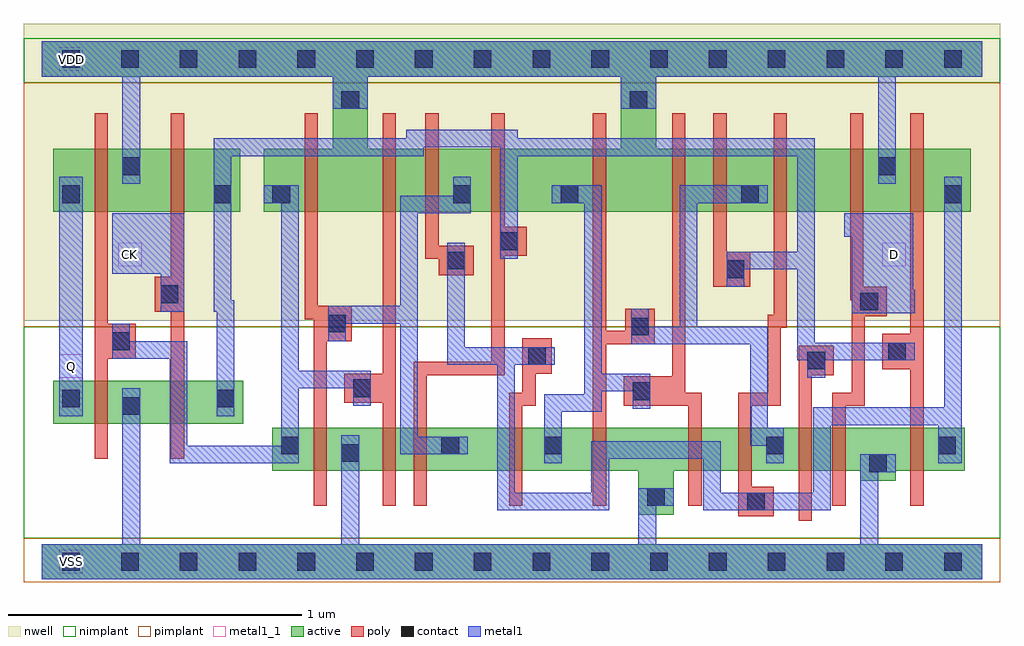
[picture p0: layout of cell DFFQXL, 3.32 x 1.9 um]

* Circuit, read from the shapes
.subckt DFFQXL CK D Q VDD VSS
M1 VSS n1 Q VSS nfet w=0.145u l=0.045u
M2 n2 CK VSS VSS nfet w=0.145u l=0.045u
M3 VSS n3 n1 VSS nfet w=0.145u l=0.045u
M4 n4 n1 VSS VSS nfet w=0.145u l=0.045u
M5 n3 n2 n4 VSS nfet w=0.145u l=0.045u
M6 n5 n6 n3 VSS nfet w=0.145u l=0.045u
M7 VSS n7 n5 VSS nfet w=0.145u l=0.045u
M8 n8 n5 VSS VSS nfet w=0.145u l=0.045u
M9 n7 n6 n8 VSS nfet w=0.145u l=0.045u
M10 n9 n2 n7 VSS nfet w=0.145u l=0.045u
M11 VSS D n9 VSS nfet w=0.145u l=0.045u
M12 n6 n2 VSS VSS nfet w=0.145u l=0.045u
M13 VDD n1 Q VDD pfet w=0.215u l=0.045u
M14 n2 CK VDD VDD pfet w=0.215u l=0.045u
M15 VDD n3 n1 VDD pfet w=0.215u l=0.045u
M16 n10 n1 VDD VDD pfet w=0.215u l=0.045u
M17 n3 n6 n10 VDD pfet w=0.215u l=0.045u
M18 n5 n2 n3 VDD pfet w=0.215u l=0.045u
M19 VDD n7 n5 VDD pfet w=0.215u l=0.045u
M20 n11 n5 VDD VDD pfet w=0.215u l=0.045u
M21 n7 n2 n11 VDD pfet w=0.215u l=0.045u
M22 n12 n6 n7 VDD pfet w=0.215u l=0.045u
M23 VDD D n12 VDD pfet w=0.215u l=0.045u
M24 n6 n2 VDD VDD pfet w=0.215u l=0.045u
.ends

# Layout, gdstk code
import gdstk
lib = gdstk.Library(unit=1e-6, precision=5e-10)
def R(c, l, rs):  # rectangles x0, y0, x1, y1
    for r in rs: c.add(gdstk.rectangle(r[:2], r[2:], *l))
def A(c, l, x, y, w, h, nx, ny, dx, dy):  # array of equal rectangles
    R(c, l, [(x+i*dx, y+j*dy, x+i*dx+w, y+j*dy+h) for i in range(nx) for j in range(ny)])
def P(c, l, *ps):  # polygons
    for p in ps: c.add(gdstk.Polygon(p, *l))
active = (1, 0)
nwell = (2, 0)
poly = (3, 0)
nimplant = (4, 0)
pimplant = (5, 0)
contact = (6, 0)
metal1 = (7, 0)
metal1_1 = (7, 1)

dffqxl = lib.new_cell('DFFQXL')
R(dffqxl, active, [(0,-0.06,3.2,0.06), (0.04,0.47,0.685,0.615), (0.04,1.19,0.675,1.405)])
P(dffqxl, active, [(0,1.77),(3.2,1.77),(3.2,1.65),(2.09,1.65),(2.09,1.405),(3.16,1.405),(3.16,1.19),(0.755,1.19),(0.755,1.405),(0.99,1.405),(0.99,1.65),(1.11,1.65),(1.11,1.405),(1.97,1.405),(1.97,1.65),(0,1.65)],
  [(0.785,0.455),(3.14,0.455),(3.14,0.31),(2.905,0.31),(2.905,0.275),(2.785,0.275),(2.785,0.31),(2.15,0.31),(2.15,0.16),(2.03,0.16),(2.03,0.31),(0.785,0.31)])
R(dffqxl, nwell, [(-0.06,0.82,3.26,1.83)])
P(dffqxl, poly, [(0.18,1.525),(0.225,1.525),(0.225,0.81),(0.32,0.81),(0.32,0.69),(0.225,0.69),(0.225,0.35),(0.18,0.35)],
  [(0.44,1.525),(0.485,1.525),(0.485,0.35),(0.44,0.35),(0.44,0.85),(0.385,0.85),(0.385,0.97),(0.44,0.97)],
  [(0.895,1.525),(0.94,1.525),(0.94,0.87),(1.055,0.87),(1.055,0.75),(0.97,0.75),(0.97,0.19),(0.925,0.19),(0.925,0.825),(0.895,0.825)],
  [(1.16,1.525),(1.205,1.525),(1.205,0.19),(1.16,0.19),(1.16,0.54),(1.03,0.54),(1.03,0.64),(1.16,0.64)],
  [(1.305,1.525),(1.35,1.525),(1.35,1.075),(1.47,1.075),(1.47,0.975),(1.35,0.975),(1.35,1.03),(1.305,1.03)],
  [(1.53,1.525),(1.575,1.525),(1.575,1.14),(1.65,1.14),(1.65,1.04),(1.575,1.04),(1.575,0.635),(1.31,0.635),(1.31,0.19),(1.265,0.19),(1.265,0.68),(1.53,0.68)],
  [(1.875,1.525),(1.92,1.525),(1.92,0.785),(1.985,0.785),(1.985,0.86),(2.085,0.86),(2.085,0.74),(1.92,0.74),(1.92,0.19),(1.875,0.19)],
  [(2.145,1.525),(2.19,1.525),(2.19,0.575),(2.245,0.575),(2.245,0.19),(2.2,0.19),(2.2,0.53),(1.98,0.53),(1.98,0.63),(2.145,0.63)],
  [(2.285,1.525),(2.33,1.525),(2.33,1.055),(2.41,1.055),(2.41,0.935),(2.285,0.935)],
  [(2.49,1.525),(2.535,1.525),(2.535,0.795),(2.515,0.795),(2.515,0.53),(2.415,0.53),(2.415,0.255),(2.49,0.255),(2.49,0.155),(2.37,0.155),(2.37,0.575),(2.47,0.575),(2.47,0.84),(2.49,0.84)],
  [(2.75,1.525),(2.795,1.525),(2.795,0.935),(2.875,0.935),(2.875,0.835),(2.8,0.835),(2.8,0.53),(2.735,0.53),(2.735,0.19),(2.69,0.19),(2.69,0.575),(2.755,0.575),(2.755,0.89),(2.75,0.89)],
  [(2.955,1.525),(3,1.525),(3,0.19),(2.955,0.19),(2.955,0.655),(2.86,0.655),(2.86,0.775),(2.955,0.775)],
  [(1.635,0.76),(1.735,0.76),(1.735,0.64),(1.68,0.64),(1.68,0.53),(1.635,0.53),(1.635,0.19),(1.59,0.19),(1.59,0.575),(1.635,0.575)],
  [(2.575,0.735),(2.695,0.735),(2.695,0.635),(2.62,0.635),(2.62,0.14),(2.575,0.14)])
R(dffqxl, nimplant, [(-0.06,0.08,3.26,0.8), (-0.06,1.63,3.26,1.78)])
R(dffqxl, pimplant, [(-0.06,-0.07,3.26,0.08), (-0.06,0.8,3.26,1.63)])
A(dffqxl, contact, 0.07, -0.03, 0.06, 0.06, 16, 2, 0.2, 1.71)
R(dffqxl, contact, [(2.4,0.175,2.46,0.235), (2.06,0.19,2.12,0.25), (2.815,0.305,2.875,0.365), (1.02,0.34,1.08,0.4), (0.815,0.365,0.875,0.425), (1.36,0.365,1.42,0.425), (1.71,0.365,1.77,0.425), (2.465,0.365,2.525,0.425), (3.05,0.365,3.11,0.425), (0.275,0.5,0.335,0.56), (0.07,0.525,0.13,0.585), (0.595,0.525,0.655,0.585), (2.01,0.55,2.07,0.61), (1.06,0.56,1.12,0.62), (2.605,0.655,2.665,0.715), (1.655,0.67,1.715,0.73), (2.88,0.685,2.94,0.745), (0.24,0.72,0.3,0.78), (2.005,0.77,2.065,0.83), (0.975,0.78,1.035,0.84), (2.785,0.855,2.845,0.915), (0.405,0.88,0.465,0.94), (2.33,0.965,2.39,1.025), (1.38,0.995,1.44,1.055), (1.56,1.06,1.62,1.12), (0.07,1.22,0.13,1.28), (0.585,1.22,0.645,1.28), (0.785,1.22,0.845,1.28), (1.4,1.22,1.46,1.28), (1.765,1.22,1.825,1.28), (2.38,1.22,2.44,1.28), (3.07,1.22,3.13,1.28), (0.275,1.315,0.335,1.375), (2.845,1.315,2.905,1.375), (1.02,1.54,1.08,1.6), (2,1.54,2.06,1.6)])
R(dffqxl, metal1, [(0.06,0.495,0.14,1.31)])
P(dffqxl, metal1, [(0,1.77),(3.2,1.77),(3.2,1.65),(2.905,1.65),(2.905,1.285),(2.845,1.285),(2.845,1.65),(2.09,1.65),(2.09,1.54),(1.97,1.54),(1.97,1.65),(1.11,1.65),(1.11,1.54),(0.99,1.54),(0.99,1.65),(0.335,1.65),(0.335,1.285),(0.275,1.285),(0.275,1.65),(0,1.65)],
  [(1.24,1.47),(1.62,1.47),(1.62,1.44),(2.63,1.44),(2.63,0.745),(2.97,0.745),(2.97,0.685),(2.665,0.685),(2.665,0.625),(2.605,0.625),(2.605,0.685),(2.57,0.685),(2.57,0.995),(2.39,0.995),(2.39,0.935),(2.33,0.935),(2.33,1.055),(2.57,1.055),(2.57,1.38),(1.62,1.38),(1.62,1.03),(1.56,1.03),(1.56,1.41),(1.3,1.41),(1.3,1.38),(0.645,1.38),(0.645,0.89),(0.655,0.89),(0.655,0.495),(0.595,0.495),(0.595,0.85),(0.585,0.85),(0.585,1.44),(1.24,1.44)],
  [(1.4,1.31),(1.46,1.31),(1.46,1.185),(1.28,1.185),(1.28,0.425),(1.45,0.425),(1.45,0.365),(1.22,0.365),(1.22,0.81),(1.035,0.81),(1.035,0.75),(0.975,0.75),(0.975,0.87),(1.22,0.87),(1.22,1.245),(1.4,1.245)],
  [(0.755,1.28),(0.875,1.28),(0.875,0.65),(1.12,0.65),(1.12,0.53),(1.06,0.53),(1.06,0.59),(0.875,0.59),(0.875,0.335),(0.435,0.335),(0.435,0.69),(0.24,0.69),(0.24,0.81),(0.3,0.81),(0.3,0.75),(0.495,0.75),(0.495,0.395),(0.815,0.395),(0.815,1.22),(0.755,1.22)],
  [(0.24,1.185),(0.485,1.185),(0.485,0.85),(0.405,0.85),(0.405,0.98),(0.24,0.98)],
  [(0.275,0.59),(0.335,0.59),(0.335,0.06),(1.02,0.06),(1.02,0.43),(1.08,0.43),(1.08,0.06),(2.03,0.06),(2.03,0.25),(2.15,0.25),(2.15,0.19),(2.09,0.19),(2.09,0.06),(2.785,0.06),(2.785,0.365),(2.905,0.365),(2.905,0.305),(2.845,0.305),(2.845,0.06),(3.2,0.06),(3.2,-0.06),(0,-0.06),(0,0.06),(0.275,0.06)],
  [(1.735,1.28),(1.905,1.28),(1.905,0.64),(2.07,0.64),(2.07,0.52),(2.01,0.52),(2.01,0.58),(1.905,0.58),(1.905,0.51),(1.77,0.51),(1.77,0.335),(1.71,0.335),(1.71,0.57),(1.845,0.57),(1.845,1.22),(1.735,1.22)],
  [(2.17,1.28),(2.47,1.28),(2.47,1.22),(2.23,1.22),(2.23,0.8),(2.47,0.8),(2.47,0.455),(2.525,0.455),(2.525,0.335),(2.465,0.335),(2.465,0.395),(2.41,0.395),(2.41,0.74),(2.005,0.74),(2.005,0.86),(2.065,0.86),(2.065,0.8),(2.17,0.8)],
  [(1.38,1.085),(1.44,1.085),(1.44,0.73),(1.745,0.73),(1.745,0.67),(1.61,0.67),(1.61,0.235),(1.87,0.235),(1.87,0.41),(2.31,0.41),(2.31,0.235),(2.625,0.235),(2.625,0.525),(3.07,0.525),(3.07,1.31),(3.13,1.31),(3.13,0.335),(3.05,0.335),(3.05,0.465),(2.685,0.465),(2.685,0.175),(2.25,0.175),(2.25,0.35),(1.93,0.35),(1.93,0.175),(1.55,0.175),(1.55,0.67),(1.38,0.67)],
  [(2.73,1.185),(2.965,1.185),(2.965,0.925),(2.97,0.925),(2.97,0.845),(2.755,0.845),(2.755,1.105),(2.73,1.105)])
R(dffqxl, metal1_1, [(0.06,-0.04,0.14,0.04), (0.06,0.625,0.14,0.705), (0.26,1.005,0.34,1.085), (2.86,1.005,2.94,1.085), (0.06,1.67,0.14,1.75)])
dffqxl.add(gdstk.Label('Q', (0.1,0.665), layer=7, texttype=1))
dffqxl.add(gdstk.Label('D', (2.9,1.045), layer=7, texttype=1))
dffqxl.add(gdstk.Label('CK', (0.3,1.045), layer=7, texttype=1))
dffqxl.add(gdstk.Label('VDD', (0.1,1.71), layer=7, texttype=1))
dffqxl.add(gdstk.Label('VSS', (0.1,0), layer=7, texttype=1))
dffqxl.add(gdstk.Label('DFFQXL', (0,0), layer=63, texttype=0))

lib.write_gds('DFFQXL.gds')
